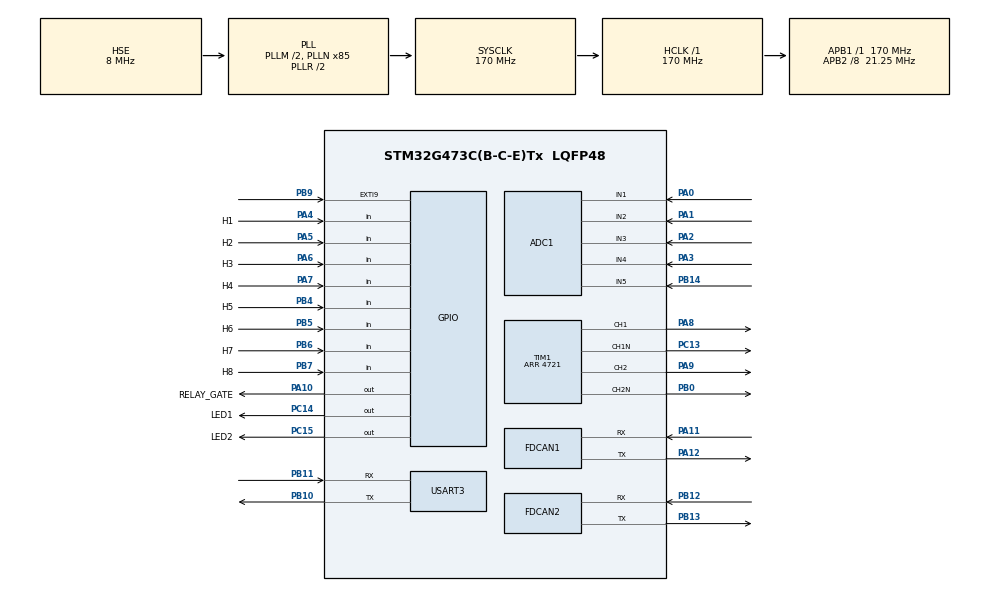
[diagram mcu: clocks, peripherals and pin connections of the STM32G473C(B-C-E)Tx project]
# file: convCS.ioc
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ADC1.Channel-0\#ChannelRegularConversion=ADC_CHANNEL_1
ADC1.Channel-5\#ChannelRegularConversion=ADC_CHANNEL_2
ADC1.Channel-6\#ChannelRegularConversion=ADC_CHANNEL_3
ADC1.Channel-7\#ChannelRegularConversion=ADC_CHANNEL_4
ADC1.Channel-8\#ChannelRegularConversion=ADC_CHANNEL_5
ADC1.EnableInjectedConversion=DISABLE
ADC1.NbrOfConversion=5
ADC1.NbrOfConversionFlag=1
ADC1.OffsetNumber-0\#ChannelRegularConversion=ADC_OFFSET_NONE
ADC1.OffsetNumber-5\#ChannelRegularConversion=ADC_OFFSET_NONE
ADC1.OffsetNumber-6\#ChannelRegularConversion=ADC_OFFSET_NONE
ADC1.OffsetNumber-7\#ChannelRegularConversion=ADC_OFFSET_NONE
ADC1.OffsetNumber-8\#ChannelRegularConversion=ADC_OFFSET_NONE
ADC1.Rank-0\#ChannelRegularConversion=1
ADC1.Rank-5\#ChannelRegularConversion=2
ADC1.Rank-6\#ChannelRegularConversion=3
ADC1.Rank-7\#ChannelRegularConversion=4
ADC1.Rank-8\#ChannelRegularConversion=5
ADC1.Rank1_Channel=ADC_CHANNEL_1
ADC1.Rank2_Channel=ADC_CHANNEL_1
ADC1.Rank3_Channel=ADC_CHANNEL_1
ADC1.Rank4_Channel=ADC_CHANNEL_1
ADC1.SamplingTime-0\#ChannelRegularConversion=ADC_SAMPLETIME_247CYCLES_5
ADC1.SamplingTime-5\#ChannelRegularConversion=ADC_SAMPLETIME_247CYCLES_5
ADC1.SamplingTime-6\#ChannelRegularConversion=ADC_SAMPLETIME_247CYCLES_5
ADC1.SamplingTime-7\#ChannelRegularConversion=ADC_SAMPLETIME_247CYCLES_5
ADC1.SamplingTime-8\#ChannelRegularConversion=ADC_SAMPLETIME_247CYCLES_5
ADC1.master=1
FDCAN1.CalculateBaudRateNominal=499999
FDCAN1.CalculateTimeBitNominal=2000
FDCAN1.CalculateTimeQuantumNominal=117.64705882352942
FDCAN1.Mode=FDCAN_MODE_NORMAL
FDCAN1.NominalPrescaler=20
FDCAN1.NominalTimeSeg1=14
FDCAN1.NominalTimeSeg2=2
FDCAN2.CalculateBaudRateNominal=499999
FDCAN2.CalculateTimeBitNominal=2000
FDCAN2.CalculateTimeQuantumNominal=117.64705882352942
FDCAN2.Mode=FDCAN_MODE_NORMAL
FDCAN2.NominalPrescaler=20
FDCAN2.NominalTimeSeg1=14
FDCAN2.NominalTimeSeg2=2
FDCAN2.StdFiltersNbr=0
Mcu.Family=STM32G4
Mcu.Name=STM32G473C(B-C-E)Tx
Mcu.Package=LQFP48
NVIC.EXTI9_5_IRQn=true\:0\:0\:true\:false\:true\:true\:true\:true
NVIC.FDCAN2_IT0_IRQn=true\:3\:0\:true\:false\:true\:true\:true\:true
NVIC.FDCAN2_IT1_IRQn=true\:3\:0\:true\:false\:true\:true\:true\:true
NVIC.PriorityGroup=NVIC_PRIORITYGROUP_3
NVIC.TIM1_CC_IRQn=true\:2\:0\:true\:false\:true\:true\:true\:true
NVIC.TIM6_DAC_IRQn=true\:2\:1\:true\:false\:true\:true\:true\:true
NVIC.TIM7_DAC_IRQn=true\:0\:0\:false\:false\:true\:true\:true\:true
NVIC.USART3_IRQn=true\:0\:0\:false\:false\:true\:true\:true\:true
PA0.Mode=IN1-Single-Ended
PA0.Signal=ADC1_IN1
PA1.Mode=IN2-Single-Ended
PA1.Signal=ADC1_IN2
PA10.GPIO_Label=RELAY_GATE
PA10.Signal=GPIO_Output
PA11.Mode=FDCAN_Activate
PA11.Signal=FDCAN1_RX
PA12.Mode=FDCAN_Activate
PA12.Signal=FDCAN1_TX
PA13.Mode=Trace_Asynchronous_SW
PA13.Signal=SYS_JTMS-SWDIO
PA14.Mode=Trace_Asynchronous_SW
PA14.Signal=SYS_JTCK-SWCLK
PA2.Mode=IN3-Single-Ended
PA2.Signal=ADC1_IN3
PA3.Mode=IN4-Single-Ended
PA3.Signal=ADC1_IN4
PA4.GPIO_Label=H1
PA4.Signal=GPIO_Input
PA5.GPIO_Label=H2
PA5.Signal=GPIO_Input
PA6.GPIO_Label=H3
PA6.Signal=GPIO_Input
PA7.GPIO_Label=H4
PA7.Signal=GPIO_Input
PA8.Signal=S_TIM1_CH1
PA9.Signal=S_TIM1_CH2
PB0.Mode=PWM Generation2 CH2 CH2N
PB0.Signal=TIM1_CH2N
PB10.Mode=Asynchronous
PB10.Signal=USART3_TX
PB11.Mode=Asynchronous
PB11.Signal=USART3_RX
PB12.Mode=FDCAN_Activate
PB12.Signal=FDCAN2_RX
PB13.Mode=FDCAN_Activate
PB13.Signal=FDCAN2_TX
PB14.Mode=IN5-Single-Ended
PB14.Signal=ADC1_IN5
PB3.Mode=Trace_Asynchronous_SW
PB3.Signal=SYS_JTDO-SWO
PB4.GPIO_Label=H5
PB4.Signal=GPIO_Input
PB5.GPIO_Label=H6
PB5.Signal=GPIO_Input
PB6.GPIO_Label=H7
PB6.Signal=GPIO_Input
PB7.GPIO_Label=H8
PB7.Signal=GPIO_Input
PB9.GPIO_ModeDefaultEXTI=GPIO_MODE_IT_RISING
PB9.GPIO_PuPd=GPIO_PULLUP
PB9.Signal=GPXTI9
PC13.Mode=PWM Generation1 CH1 CH1N
PC13.Signal=TIM1_CH1N
PC14-OSC32_IN.GPIO_Label=LED1
PC14-OSC32_IN.Signal=GPIO_Output
PC15-OSC32_OUT.GPIO_Label=LED2
PC15-OSC32_OUT.Signal=GPIO_Output
PF0-OSC_IN.Mode=HSE-External-Oscillator
PF0-OSC_IN.Signal=RCC_OSC_IN
PF1-OSC_OUT.Mode=HSE-External-Oscillator
PF1-OSC_OUT.Signal=RCC_OSC_OUT
ProjectManager.HeapSize=0x200
ProjectManager.StackSize=0x400
ProjectManager.TargetToolchain=STM32CubeIDE
RCC.ADC12Freq_Value=170000000
RCC.ADC345Freq_Value=170000000
RCC.AHBFreq_Value=170000000
RCC.APB1Freq_Value=170000000
RCC.APB1TimFreq_Value=170000000
RCC.APB2CLKDivider=RCC_HCLK_DIV8
RCC.APB2Freq_Value=21250000
RCC.APB2TimFreq_Value=42500000
RCC.CortexFreq_Value=170000000
RCC.EXTERNAL_CLOCK_VALUE=12288000
RCC.HCLKFreq_Value=170000000
RCC.HSE_VALUE=8000000
RCC.HSI48_VALUE=48000000
RCC.HSI_VALUE=16000000
RCC.LSE_VALUE=32768
RCC.PLLM=RCC_PLLM_DIV2
RCC.PLLN=85
RCC.PLLSourceVirtual=RCC_PLLSOURCE_HSE
RCC.SYSCLKFreq_VALUE=170000000
RCC.SYSCLKSource=RCC_SYSCLKSOURCE_PLLCLK
RCC.USBFreq_Value=170000000
RCC.VCOOutputFreq_Value=340000000
SH.S_TIM1_CH1.0=TIM1_CH1,PWM Generation1 CH1 CH1N
SH.S_TIM1_CH2.0=TIM1_CH2,PWM Generation2 CH2 CH2N
TIM1.Channel-Output\ Compare4\ No\ Output=TIM_CHANNEL_4
TIM1.Channel-PWM\ Generation1\ CH1\ CH1N=TIM_CHANNEL_1
TIM1.Channel-PWM\ Generation2\ CH2\ CH2N=TIM_CHANNEL_2
TIM1.Dithering=Disable
TIM1.PeriodNoDither=4721
TIM1.PulseNoDither_2=0
TIM1.PulseNoDither_4=2300
TIM1.RepetitionCounter=0
TIM1.TIM_MasterOutputTrigger=TIM_TRGO_RESET
TIM7.PeriodNoDither=62499
TIM7.Prescaler=2719
USART3.VirtualMode-Asynchronous=VM_ASYNC
VP_SYS_VS_DBSignals.Mode=DisableDeadBatterySignals
VP_TIM1_VS_no_output4.Mode=Output Compare4 No Output
VP_TIM6_VS_ClockSourceINT.Mode=Enable_Timer
VP_TIM7_VS_ClockSourceINT.Mode=Enable_Timer
board=custom

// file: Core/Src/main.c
/* USER CODE BEGIN Header */
/**
  ******************************************************************************
  * @file           : main.c
  * @brief          : Main program body
  ******************************************************************************
  * @attention
  *
  * Copyright (c) 2025 STMicroelectronics.
  * All rights reserved.
  *
  * This software is licensed under terms that can be found in the LICENSE file
  * in the root directory of this software component.
  * If no LICENSE file comes with this software, it is provided AS-IS.
  *
  ******************************************************************************
  */
/* USER CODE END Header */
#include "main.h"

/* USER CODE BEGIN Includes */
#include "converter.h"
#include "sensor.h"

#include "can.h"
#include "flash.h"
#include "precharge.h"

#ifndef TEST_UNITY
#include "uart.h"
#endif
/* USER CODE END Includes */

/* USER CODE BEGIN PD */
#define ADC_DIVIDER 1 // Calculate adc values time = pwm_period/ADC_DIVIDER
//#define PUTCHAR_PROTOTYPE int __io_putchar(int ch)

/* USER CODE END PD */

ADC_HandleTypeDef hadc1;

FDCAN_HandleTypeDef hfdcan1;
FDCAN_HandleTypeDef hfdcan2;

TIM_HandleTypeDef htim1;
TIM_HandleTypeDef htim6;
TIM_HandleTypeDef htim7;

UART_HandleTypeDef huart3;

/* USER CODE BEGIN PV */
uint32_t tickADC = ADC_DIVIDER;

uint8_t processRun = 0;
uint8_t processRunOld = 0;

SystemState_t debug = STATE_CHARGE;

volatile uint8_t flag_irq = 0;
volatile uint32_t time_irq = 0;

/* USER CODE END PV */

void SystemClock_Config(void);
static void MX_GPIO_Init(void);
static void MX_ADC1_Init(void);
static void MX_FDCAN2_Init(void);
static void MX_TIM1_Init(void);
static void MX_USART3_UART_Init(void);
static void MX_TIM6_Init(void);
static void MX_TIM7_Init(void);
static void MX_FDCAN1_Init(void);

/* USER CODE BEGIN 0 */

void HAL_TIM_OC_DelayElapsedCallback(TIM_HandleTypeDef *htim)
{
    if (htim->Instance == TIM1 && htim->Channel == HAL_TIM_ACTIVE_CHANNEL_4)
    {
    	if (tickADC == ADC_DIVIDER)
    	{
    		sensorRead();
    		tickADC = 0;
    	}
    	else
    	{
    		tickADC++;
    	}
    }
}

void HAL_TIM_PeriodElapsedCallback(TIM_HandleTypeDef *htim)
{
    if (htim->Instance == TIM6)
    {
    	converterProcess(getRequestedMode());
    }
    if (htim->Instance == TIM7)
    {
    	canProcessPeriodic();
    	doPrecharge();
    }
}

/* USER CODE END 0 */

int main(void)
{

  /* MCU Configuration--------------------------------------------------------*/

  /* Reset of all peripherals, Initializes the Flash interface and the Systick. */
  HAL_Init();

  /* Configure the system clock */
  SystemClock_Config();

  /* Initialize all configured peripherals */
  MX_GPIO_Init();
  MX_ADC1_Init();
  MX_FDCAN2_Init();
  MX_TIM1_Init();
  MX_USART3_UART_Init();
  MX_TIM6_Init();
  MX_TIM7_Init();
  MX_FDCAN1_Init();
  /* USER CODE BEGIN 2 */
  HAL_Delay(200);
  canInit();
  HAL_TIM_OC_Start_IT(&htim1, TIM_CHANNEL_4); // Прерывание для АЦП
  HAL_TIM_Base_Start_IT(&htim6); // Прерывание для converterProcess()
  HAL_TIM_Base_Start_IT(&htim7); // Прерывание для canProcessPeriodic()
  sensorInit();
  /* USER CODE END 2 */

  /* Infinite loop */
  while (1)
  {

    /* USER CODE BEGIN 3 */
//	  TIM1->CCR1 = 2000;
	  ledTick2();
	  buttonDebounce();

  }
  /* USER CODE END 3 */
}

void SystemClock_Config(void)
{
  RCC_OscInitTypeDef RCC_OscInitStruct = {0};
  RCC_ClkInitTypeDef RCC_ClkInitStruct = {0};

  /** Configure the main internal regulator output voltage
  */
  HAL_PWREx_ControlVoltageScaling(PWR_REGULATOR_VOLTAGE_SCALE1_BOOST);

  /** Initializes the RCC Oscillators according to the specified parameters
  * in the RCC_OscInitTypeDef structure.
  */
  RCC_OscInitStruct.OscillatorType = RCC_OSCILLATORTYPE_HSE;
  RCC_OscInitStruct.HSEState = RCC_HSE_ON;
  RCC_OscInitStruct.PLL.PLLState = RCC_PLL_ON;
  RCC_OscInitStruct.PLL.PLLSource = RCC_PLLSOURCE_HSE;
  RCC_OscInitStruct.PLL.PLLM = RCC_PLLM_DIV2;
  RCC_OscInitStruct.PLL.PLLN = 85;
  RCC_OscInitStruct.PLL.PLLP = RCC_PLLP_DIV2;
  RCC_OscInitStruct.PLL.PLLQ = RCC_PLLQ_DIV2;
  RCC_OscInitStruct.PLL.PLLR = RCC_PLLR_DIV2;
  if (HAL_RCC_OscConfig(&RCC_OscInitStruct) != HAL_OK)
  {
    Error_Handler();
  }

  /** Initializes the CPU, AHB and APB buses clocks
  */
  RCC_ClkInitStruct.ClockType = RCC_CLOCKTYPE_HCLK|RCC_CLOCKTYPE_SYSCLK
                              |RCC_CLOCKTYPE_PCLK1|RCC_CLOCKTYPE_PCLK2;
  RCC_ClkInitStruct.SYSCLKSource = RCC_SYSCLKSOURCE_PLLCLK;
  RCC_ClkInitStruct.AHBCLKDivider = RCC_SYSCLK_DIV1;
  RCC_ClkInitStruct.APB1CLKDivider = RCC_HCLK_DIV1;
  RCC_ClkInitStruct.APB2CLKDivider = RCC_HCLK_DIV8;

  if (HAL_RCC_ClockConfig(&RCC_ClkInitStruct, FLASH_LATENCY_4) != HAL_OK)
  {
    Error_Handler();
  }
}

static void MX_ADC1_Init(void)
{

  ADC_MultiModeTypeDef multimode = {0};
  ADC_ChannelConfTypeDef sConfig = {0};

  /** Common config
  */
  hadc1.Instance = ADC1;
  hadc1.Init.ClockPrescaler = ADC_CLOCK_SYNC_PCLK_DIV4;
  hadc1.Init.Resolution = ADC_RESOLUTION_12B;
  hadc1.Init.DataAlign = ADC_DATAALIGN_RIGHT;
  hadc1.Init.GainCompensation = 0;
  hadc1.Init.ScanConvMode = ADC_SCAN_ENABLE;
  hadc1.Init.EOCSelection = ADC_EOC_SINGLE_CONV;
  hadc1.Init.LowPowerAutoWait = DISABLE;
  hadc1.Init.ContinuousConvMode = DISABLE;
  hadc1.Init.NbrOfConversion = 5;
  hadc1.Init.DiscontinuousConvMode = DISABLE;
  hadc1.Init.ExternalTrigConv = ADC_SOFTWARE_START;
  hadc1.Init.ExternalTrigConvEdge = ADC_EXTERNALTRIGCONVEDGE_NONE;
  hadc1.Init.DMAContinuousRequests = DISABLE;
  hadc1.Init.Overrun = ADC_OVR_DATA_PRESERVED;
  hadc1.Init.OversamplingMode = DISABLE;
  if (HAL_ADC_Init(&hadc1) != HAL_OK)
  {
    Error_Handler();
  }

  /** Configure the ADC multi-mode
  */
  multimode.Mode = ADC_MODE_INDEPENDENT;
  if (HAL_ADCEx_MultiModeConfigChannel(&hadc1, &multimode) != HAL_OK)
  {
    Error_Handler();
  }

  /** Configure Regular Channel
  */
  sConfig.Channel = ADC_CHANNEL_1;
  sConfig.Rank = ADC_REGULAR_RANK_1;
  sConfig.SamplingTime = ADC_SAMPLETIME_247CYCLES_5;
  sConfig.SingleDiff = ADC_SINGLE_ENDED;
  sConfig.OffsetNumber = ADC_OFFSET_NONE;
  sConfig.Offset = 0;
  if (HAL_ADC_ConfigChannel(&hadc1, &sConfig) != HAL_OK)
  {
    Error_Handler();
  }

  /** Configure Regular Channel
  */
  sConfig.Channel = ADC_CHANNEL_2;
  sConfig.Rank = ADC_REGULAR_RANK_2;
  if (HAL_ADC_ConfigChannel(&hadc1, &sConfig) != HAL_OK)
  {
    Error_Handler();
  }

  /** Configure Regular Channel
  */
  sConfig.Channel = ADC_CHANNEL_3;
  sConfig.Rank = ADC_REGULAR_RANK_3;
  if (HAL_ADC_ConfigChannel(&hadc1, &sConfig) != HAL_OK)
  {
    Error_Handler();
  }

  /** Configure Regular Channel
  */
  sConfig.Channel = ADC_CHANNEL_4;
  sConfig.Rank = ADC_REGULAR_RANK_4;
  if (HAL_ADC_ConfigChannel(&hadc1, &sConfig) != HAL_OK)
  {
    Error_Handler();
  }

  /** Configure Regular Channel
  */
  sConfig.Channel = ADC_CHANNEL_5;
  sConfig.Rank = ADC_REGULAR_RANK_5;
  if (HAL_ADC_ConfigChannel(&hadc1, &sConfig) != HAL_OK)
  {
    Error_Handler();
  }

}

static void MX_FDCAN1_Init(void)
{

  hfdcan1.Instance = FDCAN1;
  hfdcan1.Init.ClockDivider = FDCAN_CLOCK_DIV1;
  hfdcan1.Init.FrameFormat = FDCAN_FRAME_CLASSIC;
  hfdcan1.Init.Mode = FDCAN_MODE_NORMAL;
  hfdcan1.Init.AutoRetransmission = DISABLE;
  hfdcan1.Init.TransmitPause = DISABLE;
  hfdcan1.Init.ProtocolException = DISABLE;
  hfdcan1.Init.NominalPrescaler = 20;
  hfdcan1.Init.NominalSyncJumpWidth = 1;
  hfdcan1.Init.NominalTimeSeg1 = 14;
  hfdcan1.Init.NominalTimeSeg2 = 2;
  hfdcan1.Init.DataPrescaler = 1;
  hfdcan1.Init.DataSyncJumpWidth = 1;
  hfdcan1.Init.DataTimeSeg1 = 1;
  hfdcan1.Init.DataTimeSeg2 = 1;
  hfdcan1.Init.StdFiltersNbr = 0;
  hfdcan1.Init.ExtFiltersNbr = 0;
  hfdcan1.Init.TxFifoQueueMode = FDCAN_TX_FIFO_OPERATION;
  if (HAL_FDCAN_Init(&hfdcan1) != HAL_OK)
  {
    Error_Handler();
  }

}

static void MX_FDCAN2_Init(void)
{

  hfdcan2.Instance = FDCAN2;
  hfdcan2.Init.ClockDivider = FDCAN_CLOCK_DIV1;
  hfdcan2.Init.FrameFormat = FDCAN_FRAME_CLASSIC;
  hfdcan2.Init.Mode = FDCAN_MODE_NORMAL;
  hfdcan2.Init.AutoRetransmission = DISABLE;
  hfdcan2.Init.TransmitPause = DISABLE;
  hfdcan2.Init.ProtocolException = DISABLE;
  hfdcan2.Init.NominalPrescaler = 20;
  hfdcan2.Init.NominalSyncJumpWidth = 1;
  hfdcan2.Init.NominalTimeSeg1 = 14;
  hfdcan2.Init.NominalTimeSeg2 = 2;
  hfdcan2.Init.DataPrescaler = 1;
  hfdcan2.Init.DataSyncJumpWidth = 1;
  hfdcan2.Init.DataTimeSeg1 = 1;
  hfdcan2.Init.DataTimeSeg2 = 1;
  hfdcan2.Init.StdFiltersNbr = 0;
  hfdcan2.Init.ExtFiltersNbr = 0;
  hfdcan2.Init.TxFifoQueueMode = FDCAN_TX_FIFO_OPERATION;
  if (HAL_FDCAN_Init(&hfdcan2) != HAL_OK)
  {
    Error_Handler();
  }

}

static void MX_TIM1_Init(void)
{

  TIM_MasterConfigTypeDef sMasterConfig = {0};
  TIM_OC_InitTypeDef sConfigOC = {0};
  TIM_BreakDeadTimeConfigTypeDef sBreakDeadTimeConfig = {0};

  htim1.Instance = TIM1;
  htim1.Init.Prescaler = 0;
  htim1.Init.CounterMode = TIM_COUNTERMODE_UP;
  htim1.Init.Period = 4721;
  htim1.Init.ClockDivision = TIM_CLOCKDIVISION_DIV1;
  htim1.Init.RepetitionCounter = 0;
  htim1.Init.AutoReloadPreload = TIM_AUTORELOAD_PRELOAD_DISABLE;
  if (HAL_TIM_PWM_Init(&htim1) != HAL_OK)
  {
    Error_Handler();
  }
  if (HAL_TIM_OC_Init(&htim1) != HAL_OK)
  {
    Error_Handler();
  }
  sMasterConfig.MasterOutputTrigger = TIM_TRGO_RESET;
  sMasterConfig.MasterOutputTrigger2 = TIM_TRGO2_RESET;
  sMasterConfig.MasterSlaveMode = TIM_MASTERSLAVEMODE_DISABLE;
  if (HAL_TIMEx_MasterConfigSynchronization(&htim1, &sMasterConfig) != HAL_OK)
  {
    Error_Handler();
  }
  sConfigOC.OCMode = TIM_OCMODE_PWM1;
  sConfigOC.Pulse = 0;
  sConfigOC.OCPolarity = TIM_OCPOLARITY_HIGH;
  sConfigOC.OCNPolarity = TIM_OCNPOLARITY_HIGH;
  sConfigOC.OCFastMode = TIM_OCFAST_DISABLE;
  sConfigOC.OCIdleState = TIM_OCIDLESTATE_RESET;
  sConfigOC.OCNIdleState = TIM_OCNIDLESTATE_RESET;
  if (HAL_TIM_PWM_ConfigChannel(&htim1, &sConfigOC, TIM_CHANNEL_1) != HAL_OK)
  {
    Error_Handler();
  }
  if (HAL_TIM_PWM_ConfigChannel(&htim1, &sConfigOC, TIM_CHANNEL_2) != HAL_OK)
  {
    Error_Handler();
  }
  sConfigOC.OCMode = TIM_OCMODE_TIMING;
  sConfigOC.Pulse = 2300;
  if (HAL_TIM_OC_ConfigChannel(&htim1, &sConfigOC, TIM_CHANNEL_4) != HAL_OK)
  {
    Error_Handler();
  }
  sBreakDeadTimeConfig.OffStateRunMode = TIM_OSSR_DISABLE;
  sBreakDeadTimeConfig.OffStateIDLEMode = TIM_OSSI_DISABLE;
  sBreakDeadTimeConfig.LockLevel = TIM_LOCKLEVEL_OFF;
  sBreakDeadTimeConfig.DeadTime = 0;
  sBreakDeadTimeConfig.BreakState = TIM_BREAK_DISABLE;
  sBreakDeadTimeConfig.BreakPolarity = TIM_BREAKPOLARITY_HIGH;
  sBreakDeadTimeConfig.BreakFilter = 0;
  sBreakDeadTimeConfig.BreakAFMode = TIM_BREAK_AFMODE_INPUT;
  sBreakDeadTimeConfig.Break2State = TIM_BREAK2_DISABLE;
  sBreakDeadTimeConfig.Break2Polarity = TIM_BREAK2POLARITY_HIGH;
  sBreakDeadTimeConfig.Break2Filter = 0;
  sBreakDeadTimeConfig.Break2AFMode = TIM_BREAK_AFMODE_INPUT;
  sBreakDeadTimeConfig.AutomaticOutput = TIM_AUTOMATICOUTPUT_DISABLE;
  if (HAL_TIMEx_ConfigBreakDeadTime(&htim1, &sBreakDeadTimeConfig) != HAL_OK)
  {
    Error_Handler();
  }
  HAL_TIM_MspPostInit(&htim1);

}

static void MX_TIM6_Init(void)
{

  TIM_MasterConfigTypeDef sMasterConfig = {0};

  htim6.Instance = TIM6;
  htim6.Init.Prescaler = 0;
  htim6.Init.CounterMode = TIM_COUNTERMODE_UP;
  htim6.Init.Period = 65535;
  htim6.Init.AutoReloadPreload = TIM_AUTORELOAD_PRELOAD_DISABLE;
  if (HAL_TIM_Base_Init(&htim6) != HAL_OK)
  {
    Error_Handler();
  }
  sMasterConfig.MasterOutputTrigger = TIM_TRGO_RESET;
  sMasterConfig.MasterSlaveMode = TIM_MASTERSLAVEMODE_DISABLE;
  if (HAL_TIMEx_MasterConfigSynchronization(&htim6, &sMasterConfig) != HAL_OK)
  {
    Error_Handler();
  }

}

static void MX_TIM7_Init(void)
{

  TIM_MasterConfigTypeDef sMasterConfig = {0};

  htim7.Instance = TIM7;
  htim7.Init.Prescaler = 2719;
  htim7.Init.CounterMode = TIM_COUNTERMODE_UP;
  htim7.Init.Period = 62499;
  htim7.Init.AutoReloadPreload = TIM_AUTORELOAD_PRELOAD_DISABLE;
  if (HAL_TIM_Base_Init(&htim7) != HAL_OK)
  {
    Error_Handler();
  }
  sMasterConfig.MasterOutputTrigger = TIM_TRGO_RESET;
  sMasterConfig.MasterSlaveMode = TIM_MASTERSLAVEMODE_DISABLE;
  if (HAL_TIMEx_MasterConfigSynchronization(&htim7, &sMasterConfig) != HAL_OK)
  {
    Error_Handler();
  }

}

static void MX_USART3_UART_Init(void)
{

  huart3.Instance = USART3;
  huart3.Init.BaudRate = 115200;
  huart3.Init.WordLength = UART_WORDLENGTH_8B;
  huart3.Init.StopBits = UART_STOPBITS_1;
  huart3.Init.Parity = UART_PARITY_NONE;
  huart3.Init.Mode = UART_MODE_TX_RX;
  huart3.Init.HwFlowCtl = UART_HWCONTROL_NONE;
  huart3.Init.OverSampling = UART_OVERSAMPLING_16;
  huart3.Init.OneBitSampling = UART_ONE_BIT_SAMPLE_DISABLE;
  huart3.Init.ClockPrescaler = UART_PRESCALER_DIV1;
  huart3.AdvancedInit.AdvFeatureInit = UART_ADVFEATURE_NO_INIT;
  if (HAL_UART_Init(&huart3) != HAL_OK)
  {
    Error_Handler();
  }
  if (HAL_UARTEx_SetTxFifoThreshold(&huart3, UART_TXFIFO_THRESHOLD_1_8) != HAL_OK)
  {
    Error_Handler();
  }
  if (HAL_UARTEx_SetRxFifoThreshold(&huart3, UART_RXFIFO_THRESHOLD_1_8) != HAL_OK)
  {
    Error_Handler();
  }
  if (HAL_UARTEx_DisableFifoMode(&huart3) != HAL_OK)
  {
    Error_Handler();
  }

}

static void MX_GPIO_Init(void)
{
  GPIO_InitTypeDef GPIO_InitStruct = {0};

  /* GPIO Ports Clock Enable */
  __HAL_RCC_GPIOC_CLK_ENABLE();
  __HAL_RCC_GPIOF_CLK_ENABLE();
  __HAL_RCC_GPIOA_CLK_ENABLE();
  __HAL_RCC_GPIOB_CLK_ENABLE();

  /*Configure GPIO pin Output Level */
  HAL_GPIO_WritePin(GPIOC, LED1_Pin|LED2_Pin, GPIO_PIN_RESET);

  /*Configure GPIO pin Output Level */
  HAL_GPIO_WritePin(RELAY_GATE_GPIO_Port, RELAY_GATE_Pin, GPIO_PIN_RESET);

  /*Configure GPIO pins : LED1_Pin LED2_Pin */
  GPIO_InitStruct.Pin = LED1_Pin|LED2_Pin;
  GPIO_InitStruct.Mode = GPIO_MODE_OUTPUT_PP;
  GPIO_InitStruct.Pull = GPIO_NOPULL;
  GPIO_InitStruct.Speed = GPIO_SPEED_FREQ_LOW;
  HAL_GPIO_Init(GPIOC, &GPIO_InitStruct);

  /*Configure GPIO pins : H1_Pin H2_Pin H3_Pin H4_Pin */
  GPIO_InitStruct.Pin = H1_Pin|H2_Pin|H3_Pin|H4_Pin;
  GPIO_InitStruct.Mode = GPIO_MODE_INPUT;
  GPIO_InitStruct.Pull = GPIO_NOPULL;
  HAL_GPIO_Init(GPIOA, &GPIO_InitStruct);

  /*Configure GPIO pin : RELAY_GATE_Pin */
  GPIO_InitStruct.Pin = RELAY_GATE_Pin;
  GPIO_InitStruct.Mode = GPIO_MODE_OUTPUT_PP;
  GPIO_InitStruct.Pull = GPIO_NOPULL;
  GPIO_InitStruct.Speed = GPIO_SPEED_FREQ_LOW;
  HAL_GPIO_Init(RELAY_GATE_GPIO_Port, &GPIO_InitStruct);

  /*Configure GPIO pins : H5_Pin H6_Pin H7_Pin H8_Pin */
  GPIO_InitStruct.Pin = H5_Pin|H6_Pin|H7_Pin|H8_Pin;
  GPIO_InitStruct.Mode = GPIO_MODE_INPUT;
  GPIO_InitStruct.Pull = GPIO_NOPULL;
  HAL_GPIO_Init(GPIOB, &GPIO_InitStruct);

  /*Configure GPIO pin : PB9 */
  GPIO_InitStruct.Pin = GPIO_PIN_9;
  GPIO_InitStruct.Mode = GPIO_MODE_IT_RISING;
  GPIO_InitStruct.Pull = GPIO_PULLUP;
  HAL_GPIO_Init(GPIOB, &GPIO_InitStruct);

  /* EXTI interrupt init*/
  HAL_NVIC_SetPriority(EXTI9_5_IRQn, 0, 0);
  HAL_NVIC_EnableIRQ(EXTI9_5_IRQn);

}

/* USER CODE BEGIN 4 */

void ledTick2 ()
{
	  HAL_GPIO_WritePin(LED2_GPIO_Port, LED2_Pin, 1);
	  HAL_Delay(80);
	  HAL_GPIO_WritePin(LED2_GPIO_Port, LED2_Pin, 0);
	  HAL_Delay(80);
	  HAL_GPIO_WritePin(LED2_GPIO_Port, LED2_Pin, 1);
	  HAL_Delay(80);
	  HAL_GPIO_WritePin(LED2_GPIO_Port, LED2_Pin, 0);
	  HAL_Delay(1000);
}

void ledTick1 ()
{
	  HAL_GPIO_WritePin(LED1_GPIO_Port, LED1_Pin, 1);
	  HAL_Delay(80);
	  HAL_GPIO_WritePin(LED1_GPIO_Port, LED1_Pin, 0);
	  HAL_Delay(80);
	  HAL_GPIO_WritePin(LED1_GPIO_Port, LED1_Pin, 1);
	  HAL_Delay(80);
	  HAL_GPIO_WritePin(LED1_GPIO_Port, LED1_Pin, 0);
	  HAL_Delay(1000);
}

void buttonDebounce()
{
	  if(flag_irq && (HAL_GetTick() - time_irq) > 200)
	  {
	    __HAL_GPIO_EXTI_CLEAR_IT(GPIO_PIN_9);  // очищаем бит EXTI_PR
	    NVIC_ClearPendingIRQ(EXTI9_5_IRQn); // очищаем бит NVIC_ICPRx
	    HAL_NVIC_EnableIRQ(EXTI9_5_IRQn);   // включаем внешнее прерывание
	    flag_irq = 0;
	  }
}

void HAL_GPIO_EXTI_Callback(uint16_t GPIO_Pin)

{

  if(GPIO_Pin== GPIO_PIN_9) {

//    HAL_GPIO_TogglePin(LED2_GPIO_Port, LED2_Pin);
      HAL_NVIC_DisableIRQ(EXTI9_5_IRQn); // сразу же отключаем прерывания на этом пине
//      HAL_GPIO_TogglePin(LED1_GPIO_Port, LED1_Pin);
      sensorCalculateCoeff();
      flag_irq = 1;
      time_irq = HAL_GetTick();

  } else{

    __NOP();

  }

}

/* USER CODE END 4 */

void Error_Handler(void)
{
  __disable_irq();
  while (1)
  {
  }
}
